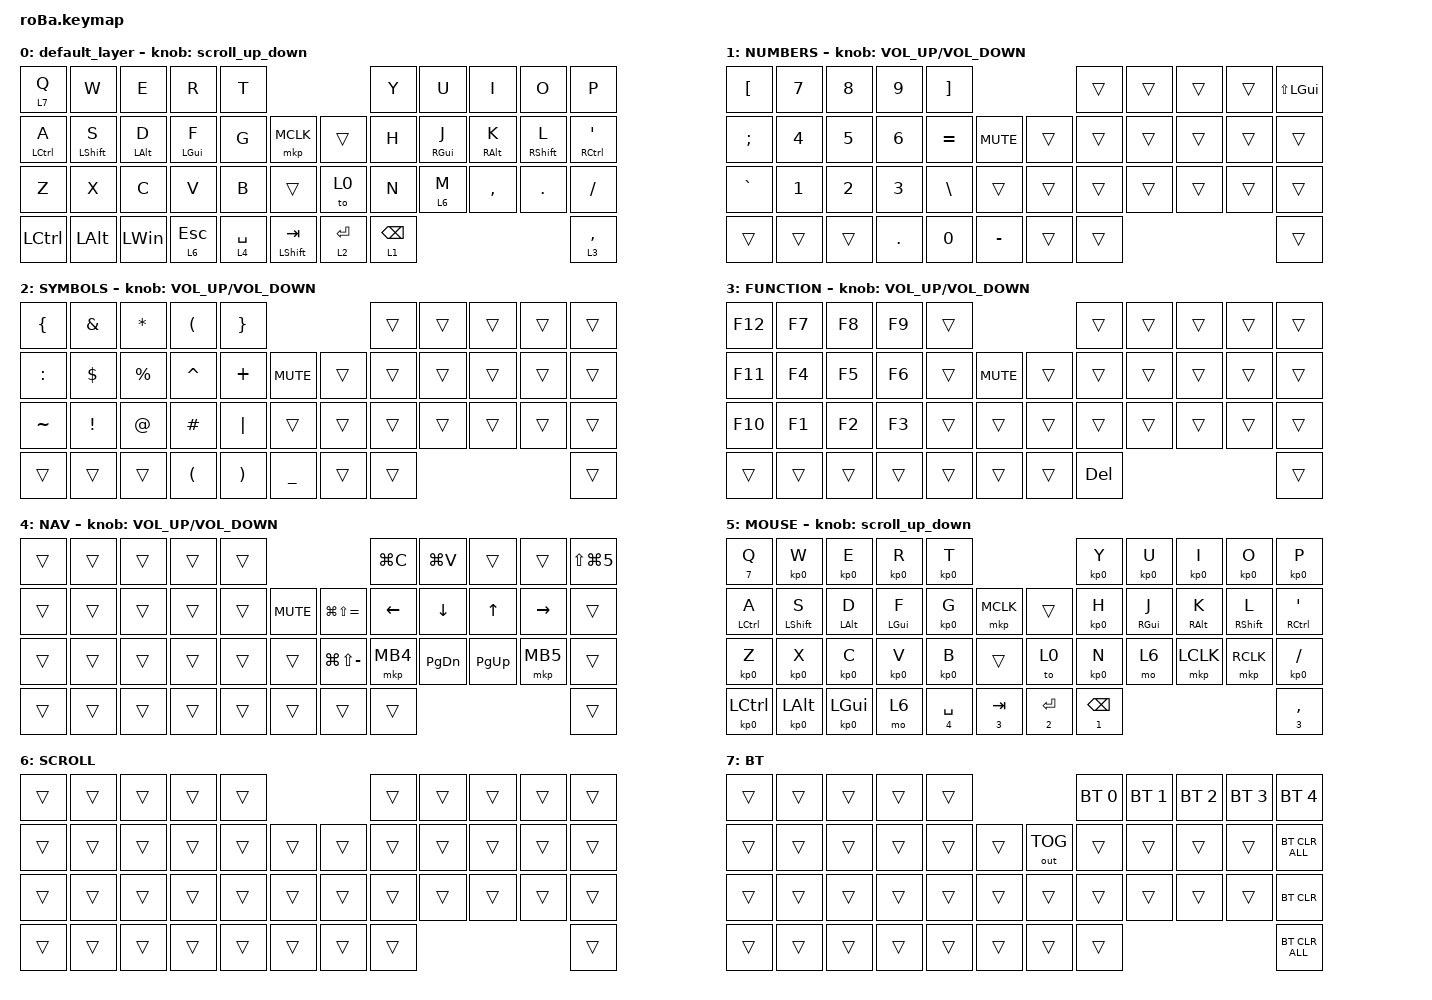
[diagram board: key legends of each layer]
#define ZMK_POINTING_DEFAULT_SCRL_VAL 100

#include "includes/41.h"
#include <behaviors/num_word.dtsi>
#include <behaviors.dtsi>
#include <dt-bindings/zmk/bt.h>
#include <dt-bindings/zmk/keys.h>
#include <dt-bindings/zmk/outputs.h>
#include <dt-bindings/zmk/pointing.h>
#include <dt-bindings/zmk/pointing.h>

#define MOUSE 4
#define SCROLL 5
#define NUM 6
#define QUICK_TAP_MS 200

&mt {
    flavor = "balanced";
    quick-tap-ms = <0>;
};

&lt {
    flavor = "balanced";
    quick-tap-ms = <200>;
};

/ {
    combos { compatible = "zmk,combos"; };

    macros {
        kp0: layer_0_tap {
            compatible = "zmk,behavior-macro-one-param";
            #binding-cells = <1>;
            bindings = <&macro_param_1to1 &kp MACRO_PLACEHOLDER &to 0>;
            label = "TO_LAYER_0_TAP";
        };

        hold0: layer_0_press {
            compatible = "zmk,behavior-macro-one-param";
            #binding-cells = <1>;
            bindings =
                <&macro_param_1to1>,
                <&macro_press>,
                <&kp MACRO_PLACEHOLDER>,
                <&macro_pause_for_release>,
                <&macro_param_1to1>,
                <&macro_release>,
                <&kp MACRO_PLACEHOLDER &to 0>;

            label = "TO_LAYER_0_PRESS";
        };

        mo0: layer_0_mo {
            compatible = "zmk,behavior-macro-one-param";
            #binding-cells = <1>;
            bindings =
                <&to 0 &macro_param_1to1>,
                <&macro_press>,
                <&mo MACRO_PLACEHOLDER>,
                <&macro_pause_for_release>,
                <&macro_param_1to1>,
                <&macro_release>,
                <&mo MACRO_PLACEHOLDER>;

            label = "TO_LAYER_0_MO";
        };
    };

    behaviors {
        hml: homerow_mods_left {
            compatible = "zmk,behavior-hold-tap";
            #binding-cells = <2>;
            flavor = "balanced";
            tapping-term-ms = <280>;
            quick-tap-ms = <QUICK_TAP_MS>;
            require-prior-idle-ms = <150>;
            bindings = <&kp>, <&kp>;

            hold-trigger-key-positions = <KEYS_R THUMBS>;
            hold-trigger-on-release;
        };

        hmr: homerow_mods_right {
            compatible = "zmk,behavior-hold-tap";
            #binding-cells = <2>;
            flavor = "balanced";
            tapping-term-ms = <280>;
            quick-tap-ms = <QUICK_TAP_MS>;
            require-prior-idle-ms = <150>;
            bindings = <&kp>, <&kp>;

            hold-trigger-key-positions = <KEYS_L THUMBS>;
            hold-trigger-on-release;
        };

        hml0: homerow_mods_left0 {
            compatible = "zmk,behavior-hold-tap";
            #binding-cells = <2>;
            flavor = "balanced";
            tapping-term-ms = <280>;
            quick-tap-ms = <QUICK_TAP_MS>;
            require-prior-idle-ms = <150>;
            bindings = <&hold0>, <&kp0>;

            hold-trigger-key-positions = <KEYS_R THUMBS>;
            hold-trigger-on-release;
        };

        hmr0: homerow_mods_right_0 {
            compatible = "zmk,behavior-hold-tap";
            #binding-cells = <2>;
            flavor = "balanced";
            tapping-term-ms = <280>;
            quick-tap-ms = <QUICK_TAP_MS>;
            require-prior-idle-ms = <150>;
            bindings = <&hold0>, <&kp0>;

            hold-trigger-key-positions = <KEYS_L THUMBS>;
            hold-trigger-on-release;
        };

        lt0: layer_0_lt {
            compatible = "zmk,behavior-hold-tap";
            #binding-cells = <2>;
            tapping-term-ms = <200>;
            flavor = "balanced";
            bindings = <&mo0>, <&kp0>;
        };

        scroll_up_down: behavior_sensor_rotate_mouse_wheel_up_down {
            compatible = "zmk,behavior-sensor-rotate";
            #sensor-binding-cells = <0>;
            bindings = <&msc SCRL_UP>, <&msc SCRL_DOWN>;

            tap-ms = <20>;
        };
    };

    keymap {
        compatible = "zmk,keymap";

        default_layer {
            bindings = <
&lt 7 Q              &kp W              &kp E            &kp R            &kp T                                             &kp Y            &kp U             &kp I             &kp O               &kp P
&hml LEFT_CONTROL A  &hml LEFT_SHIFT S  &hml LEFT_ALT D  &hml LEFT_GUI F  &kp G        &mkp MCLK               &trans       &kp H            &hmr RIGHT_GUI J  &hmr RIGHT_ALT K  &hmr RIGHT_SHIFT L  &hmr RIGHT_CONTROL SINGLE_QUOTE
&kp Z                &kp X              &kp C            &kp V            &kp B        &trans                  &to 0        &kp N            &lt 6 M           &kp COMMA         &kp PERIOD          &kp SLASH
&kp LCTRL            &kp LEFT_ALT       &kp LEFT_WIN     &lt 6 ESCAPE     &lt 4 SPACE  &mt LEFT_SHIFT TAB      &lt 2 ENTER  &lt 1 BACKSPACE                                                          &lt 3 COMMA
            >;

            sensor-bindings = <&scroll_up_down>;
        };

        NUMBERS {
            bindings = <
&kp LBKT   &kp N7  &kp N8  &kp N9   &kp RBKT                           &trans  &trans  &trans  &trans  &kp LS(LEFT_GUI)
&kp SEMI   &kp N4  &kp N5  &kp N6   &kp EQUAL  &kp K_MUTE      &trans  &trans  &trans  &trans  &trans  &trans
&kp GRAVE  &kp N1  &kp N2  &kp N3   &kp BSLH   &trans          &trans  &trans  &trans  &trans  &trans  &trans
&trans     &trans  &trans  &kp DOT  &kp N0     &kp MINUS       &trans  &trans                          &trans
            >;

            sensor-bindings = <&inc_dec_kp C_VOLUME_UP C_VOLUME_DOWN>;
        };

        SYMBOLS {
            bindings = <
&kp LEFT_BRACE  &kp AMPERSAND    &kp ASTRK    &kp LEFT_PARENTHESIS  &kp RIGHT_BRACE                                &trans  &trans  &trans  &trans  &trans
&kp COLON       &kp DOLLAR       &kp PERCENT  &kp CARET             &kp PLUS               &kp K_MUTE      &trans  &trans  &trans  &trans  &trans  &trans
&kp TILDE       &kp EXCLAMATION  &kp AT_SIGN  &kp HASH              &kp PIPE               &trans          &trans  &trans  &trans  &trans  &trans  &trans
&trans          &trans           &trans       &kp LEFT_PARENTHESIS  &kp RIGHT_PARENTHESIS  &kp UNDER       &trans  &trans                          &trans
            >;

            sensor-bindings = <&inc_dec_kp C_VOLUME_UP C_VOLUME_DOWN>;
        };

        FUNCTION {
            bindings = <
&kp F12  &kp F7  &kp F8  &kp F9  &trans                          &trans      &trans  &trans  &trans  &trans
&kp F11  &kp F4  &kp F5  &kp F6  &trans  &kp K_MUTE      &trans  &trans      &trans  &trans  &trans  &trans
&kp F10  &kp F1  &kp F2  &kp F3  &trans  &trans          &trans  &trans      &trans  &trans  &trans  &trans
&trans   &trans  &trans  &trans  &trans  &trans          &trans  &kp DELETE                          &trans
            >;

            sensor-bindings = <&inc_dec_kp C_VOLUME_UP C_VOLUME_DOWN>;
        };

        NAV {
            bindings = <
&trans  &trans  &trans  &trans  &trans                                     &kp LG(C)       &kp LG(V)       &trans        &trans           &kp LS(LG(NUMBER_5))
&trans  &trans  &trans  &trans  &trans  &kp K_MUTE      &kp LG(LS(EQUAL))  &kp LEFT_ARROW  &kp DOWN_ARROW  &kp UP_ARROW  &kp RIGHT_ARROW  &trans
&trans  &trans  &trans  &trans  &trans  &trans          &kp LG(LS(MINUS))  &mkp MB4        &kp PAGE_DOWN   &kp PAGE_UP   &mkp MB5         &trans
&trans  &trans  &trans  &trans  &trans  &trans          &trans             &trans                                                         &trans
            >;

            sensor-bindings = <&inc_dec_kp C_VOLUME_UP C_VOLUME_DOWN>;
        };

        MOUSE {
            bindings = <
&lt0 7 Q              &kp0 W              &kp0 E            &kp0 R            &kp0 T                                      &kp0 Y            &kp0 U             &kp0 I             &kp0 O               &kp0 P
&hml0 LEFT_CONTROL A  &hml0 LEFT_SHIFT S  &hml0 LEFT_ALT D  &hml0 LEFT_GUI F  &kp0 G        &mkp MCLK       &trans        &kp0 H            &hmr0 RIGHT_GUI J  &hmr0 RIGHT_ALT K  &hmr0 RIGHT_SHIFT L  &hmr0 RIGHT_CONTROL SINGLE_QUOTE
&kp0 Z                &kp0 X              &kp0 C            &kp0 V            &kp0 B        &trans          &to 0         &kp0 N            &mo 6              &mkp LCLK          &mkp RCLK            &kp0 SLASH
&kp0 LCTRL            &kp0 LALT           &kp0 LGUI         &mo 6             &lt0 4 SPACE  &lt0 3 TAB      &lt0 2 ENTER  &lt0 1 BACKSPACE                                                             &lt0 3 COMMA
            >;

            sensor-bindings = <&scroll_up_down>;
        };

        SCROLL {
            bindings = <
&trans  &trans  &trans  &trans  &trans                      &trans  &trans  &trans  &trans  &trans
&trans  &trans  &trans  &trans  &trans  &trans      &trans  &trans  &trans  &trans  &trans  &trans
&trans  &trans  &trans  &trans  &trans  &trans      &trans  &trans  &trans  &trans  &trans  &trans
&trans  &trans  &trans  &trans  &trans  &trans      &trans  &trans                          &trans
            >;
        };

        BT {
            bindings = <
&trans  &trans  &trans  &trans  &trans                            &bt BT_SEL 0  &bt BT_SEL 1  &bt BT_SEL 2  &bt BT_SEL 3  &bt BT_SEL 4
&trans  &trans  &trans  &trans  &trans  &trans      &out OUT_TOG  &trans        &trans        &trans        &trans        &bt BT_CLR_ALL
&trans  &trans  &trans  &trans  &trans  &trans      &trans        &trans        &trans        &trans        &trans        &bt BT_CLR
&trans  &trans  &trans  &trans  &trans  &trans      &trans        &trans                                                  &bt BT_CLR_ALL
            >;
        };
    };
};
